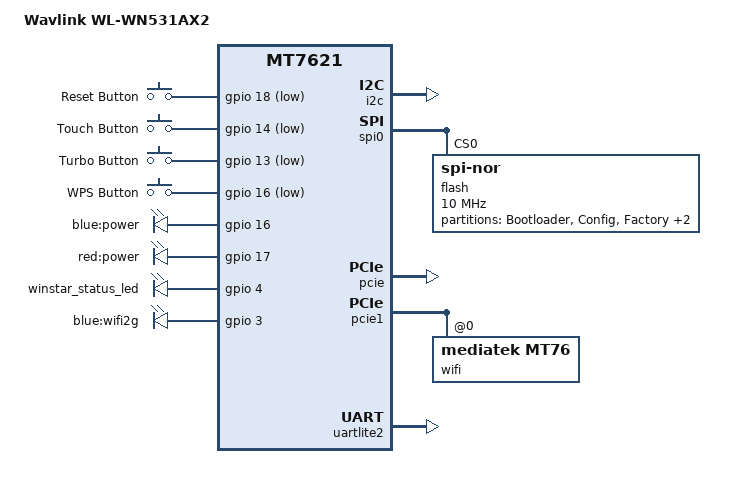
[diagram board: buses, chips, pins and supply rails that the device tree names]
// SPDX-License-Identifier: GPL-2.0-or-later OR MIT

#include "mt7621.dtsi"

#include <dt-bindings/gpio/gpio.h>
#include <dt-bindings/input/input.h>

/ {
	compatible = "wavlink,wl-wn531ax2", "mediatek,mt7621-rfb-nor\0mediatek,mt7621-soc";
	model = "Wavlink WL-WN531AX2";

	aliases {
		led-boot = &led_status_red;
		led-failsafe = &led_status_red;
		led-running = &led_status_blue;
		led-upgrade = &led_status_red;
	};

	chosen {
		bootargs = "console=ttyS0,115200";
		bootargs-override = "console=ttyS0,115200";
	};

	keys {
		compatible = "gpio-keys";

		reset {
			label = "Reset Button";
			gpios = <&gpio 18 GPIO_ACTIVE_LOW>;
			linux,code = <KEY_RESTART>;
		};

		touch { /* RH6015C touch sensor -> GPIO 14 */
			label = "Touch Button";
			gpios = <&gpio 14 GPIO_ACTIVE_LOW>;
			linux,code = <BTN_0>;
		};

		turbo {
			label = "Turbo Button";
			gpios = <&gpio 13 GPIO_ACTIVE_LOW>;
			linux,code = <BTN_1>;
		};

		wps {
			label = "WPS Button";
			gpios = <&gpio 16 GPIO_ACTIVE_LOW>;
			linux,code = <KEY_WPS_BUTTON>;
		};
	};

	leds {
		compatible = "gpio-leds";

		led_status_blue: status_blue {
			label = "blue:power";
			gpios = <&gpio 16 GPIO_ACTIVE_HIGH>;
		};

		led_status_red: status_red {
			label = "red:power";
			gpios = <&gpio 17 GPIO_ACTIVE_HIGH>;
		};

		status_led {
			gpios = <&gpio 4 GPIO_ACTIVE_HIGH>;
			label = "winstar_status_led";
		};

		wifi2g {
			label = "blue:wifi2g";
			gpios = <&gpio 3 GPIO_ACTIVE_HIGH>;
			linux,default-trigger = "phy0tpt";
		};
	};
};

&i2c {
	status = "okay";
};

&spi0 {
	status = "okay";

	flash@0 {
		compatible = "jedec,spi-nor";
		reg = <0>;
		spi-max-frequency = <0x989680>;

		partitions {
			compatible = "fixed-partitions";
			#address-cells = <1>;
			#size-cells = <1>;

			partition@0 {
				label = "Bootloader";
				reg = <0x0 0x30000>;
				read-only;
			};

			partition@30000 {
				label = "Config";
				reg = <0x30000 0x10000>;
				read-only;
			};

			factory: partition@50000 {
				label = "Factory";
				reg = <0x50000 0x40000>;
				read-only;
			};

			partition@90000 {
				compatible = "denx,fit";
				label = "firmware";
				reg = <0x90000 0xe00000>;
			};

			partition@fb0000 {
				label = "vendor";
				reg = <0xef0000 0x80000>;
				read-only;
			};
		};
	};
};

&pcie {
	status = "okay";
};

// &pcie0 {
//	wifi0: mt76@0,0 {
//		compatible = "mediatek,mt76";
//		reg = <0x000 0 0 0 0>;
//		mediatek,mtd-eeprom = <&factory 0x0>;
//	};
//};

&pcie1 {
	wifi@0,0 {
		compatible = "mediatek,mt76";
		reg = <0x0000 0 0 0 0>;
		mediatek,mtd-eeprom = <&factory 0x0000>;
	};
//	device_type = "pci";
//	reg = <0x800 0x00 0x00 0x00 0x00>;
};

&ethernet {
	pinctrl-0 = <&mdio_pins>, <&rgmii1_pins>;
};

&gmac0 {
	nvmem-cells = <&macaddr_factory_3fff4>;
	nvmem-cell-names = "mac-address";
};

&switch0 {
	ports {
		port0: port@0 {
			status = "okay";
		};

		port1: port@1 {
			status = "okay";
		};

		port2: port@2 {
			status = "okay";
		};

		port3: port@3 {
			status = "okay";
		};

		port@4 {
			status = "okay";
			label = "wan";
			nvmem-cells = <&macaddr_factory_3fffa>;
			nvmem-cell-names = "mac-address";
		};
	};
};

&state_default {
	gpio {
		groups = "rgmii2", "jtag", "wdt";
		function = "gpio";
	};
};

&uartlite2 {
	status = "okay";
};

&factory {
	compatible = "nvmem-cells";
	#address-cells = <1>;
	#size-cells = <1>;

	macaddr_factory_e000: macaddr@e000 {
		reg = <0xe000 0x6>;
	};

	macaddr_factory_e006: macaddr@e006 {
		reg = <0xe006 0x6>;
	};

	macaddr_factory_3fff4: macaddr@3fff4 {
		reg = <0x3fff4 0x6>;
	};

	macaddr_factory_3fffa: macaddr@3fffa {
		reg = <0x3fffa 0x6>;
	};
};

&port0{
	label = "lan1";
};

&port1{
	label = "lan2";
};

&port2{
	label = "lan3";
};

&port3{
	label = "lan4";
};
